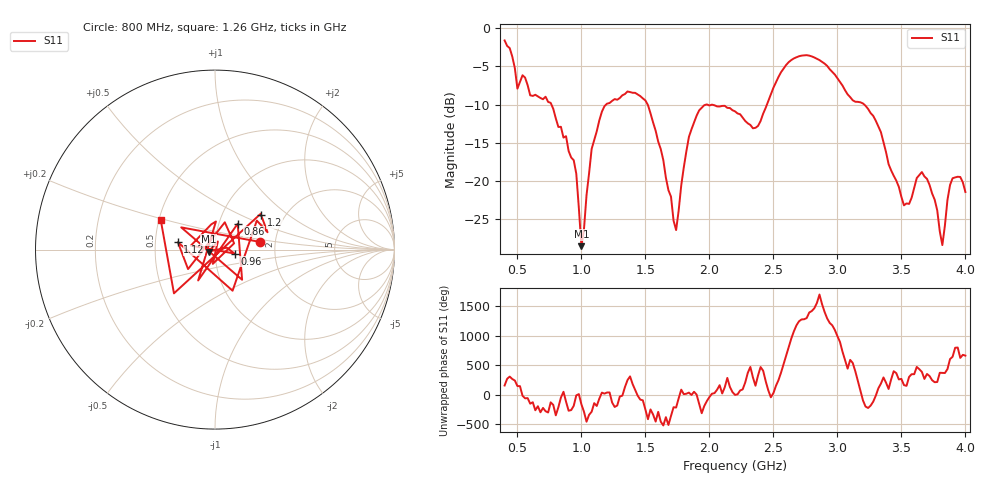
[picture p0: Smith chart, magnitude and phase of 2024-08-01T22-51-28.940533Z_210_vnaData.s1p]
!Created with skrf (http://scikit-rf.org).
# Hz S RI R 50.0
!freq ReS11 ImS11
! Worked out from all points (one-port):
!   181 points, 400 MHz to 4 GHz, reference 50 ohm
!   lowest |S11| = -28.6 dB at 1 GHz (marker M1), VSWR 1.08, Z = 46.5 - j0.995 ohm
!   |S11| at or under -10 dB: 1.518 GHz to 1.977 GHz (459.7 MHz wide, 26.3 % of centre); 1.982 GHz to 2.45 GHz (467.7 MHz wide, 21.1 % of centre); 3.209 GHz to end of sweep (the widest 3 of 4)
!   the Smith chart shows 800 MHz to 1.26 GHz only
!   S11 on the Smith chart (normalised r, x): 800 MHz: 1.67, +0.15; 860 MHz: 1.23, +0.37; 960 MHz: 1.24, -0.06; 1.12 GHz: 0.65, +0.06; 1.2 GHz: 1.52, +0.65; 1.26 GHz: 0.51, +0.19
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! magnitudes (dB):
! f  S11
! 400 MHz  -1.6
! 500 MHz  -7.9
! 540 MHz  -6.2
! 800 MHz  -11.8
! 860 MHz  -14.3
! 960 MHz  -19.1
! 1 GHz  -28.6
! 1.08 GHz  -15.8
! 1.12 GHz  -13.5
! 1.2 GHz  -9.9
! 1.26 GHz  -9.3
! 1.3 GHz  -9.1
! 1.52 GHz  -10.1
! 1.74 GHz  -26.5
! 1.76 GHz  -23.9
! 1.84 GHz  -14.2
! 1.92 GHz  -10.8
! 2.2 GHz  -10.9
! 2.38 GHz  -12.8
! 2.66 GHz  -4.0
! 3.1 GHz  -9.0
! 3.28 GHz  -11.5
! 3.56 GHz  -23.0
! 3.66 GHz  -18.9
! 3.76 GHz  -22.5
! 3.82 GHz  -28.4
! 3.9 GHz  -19.7
! 4 GHz  -21.5
